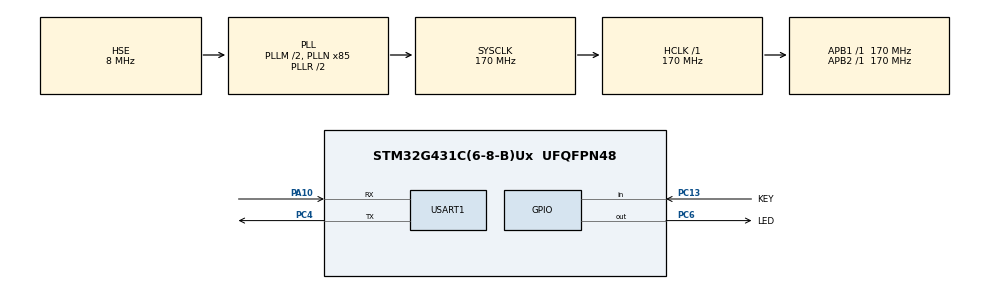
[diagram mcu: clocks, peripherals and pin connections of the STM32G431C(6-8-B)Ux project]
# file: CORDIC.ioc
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Mcu.Family=STM32G4
Mcu.Name=STM32G431C(6-8-B)Ux
Mcu.Package=UFQFPN48
NVIC.PriorityGroup=NVIC_PRIORITYGROUP_4
PA10.Mode=Asynchronous
PA10.Signal=USART1_RX
PA13.Mode=Trace_Asynchronous_SW
PA13.Signal=SYS_JTMS-SWDIO
PA14.Mode=Trace_Asynchronous_SW
PA14.Signal=SYS_JTCK-SWCLK
PB3.Mode=Trace_Asynchronous_SW
PB3.Signal=SYS_JTDO-SWO
PC13.GPIO_Label=KEY
PC13.GPIO_PuPd=GPIO_PULLDOWN
PC13.Signal=GPIO_Input
PC4.Mode=Asynchronous
PC4.Signal=USART1_TX
PC6.GPIO_Label=LED
PC6.GPIO_ModeDefaultOutputPP=GPIO_MODE_OUTPUT_PP
PC6.GPIO_Speed=GPIO_SPEED_FREQ_LOW
PC6.PinState=GPIO_PIN_RESET
PC6.Signal=GPIO_Output
PF0-OSC_IN.Mode=HSE-External-Oscillator
PF0-OSC_IN.Signal=RCC_OSC_IN
PF1-OSC_OUT.Mode=HSE-External-Oscillator
PF1-OSC_OUT.Signal=RCC_OSC_OUT
ProjectManager.HeapSize=0x200
ProjectManager.StackSize=0x400
ProjectManager.TargetToolchain=STM32CubeIDE
RCC.ADC12Freq_Value=170000000
RCC.AHBFreq_Value=170000000
RCC.APB1Freq_Value=170000000
RCC.APB1TimFreq_Value=170000000
RCC.APB2Freq_Value=170000000
RCC.APB2TimFreq_Value=170000000
RCC.CK48CLockSelection=RCC_USBCLKSOURCE_HSI48
RCC.CortexFreq_Value=170000000
RCC.EXTERNAL_CLOCK_VALUE=12288000
RCC.HCLKFreq_Value=170000000
RCC.HSE_VALUE=8000000
RCC.HSI48_VALUE=48000000
RCC.HSI_VALUE=16000000
RCC.LSE_VALUE=32768
RCC.PLLM=RCC_PLLM_DIV2
RCC.PLLN=85
RCC.PLLSourceVirtual=RCC_PLLSOURCE_HSE
RCC.SYSCLKFreq_VALUE=170000000
RCC.SYSCLKSource=RCC_SYSCLKSOURCE_PLLCLK
RCC.USBFreq_Value=48000000
RCC.VCOOutputFreq_Value=340000000
STMicroelectronics.X-CUBE-ALGOBUILD.1.4.0.LibraryCcDSPOoLibraryJjDSPOoLibrary=true
TIM6.Prescaler=170-1
USART1.VirtualMode-Asynchronous=VM_ASYNC
VP_CORDIC_VS_CORDIC.Mode=CORDIC_Activate
VP_STMicroelectronics.X-CUBE-ALGOBUILD_VS_DSPOoLibraryJjLibrary_1.4.0_1.4.0.Mode=DSPOoLibraryJjLibrary
VP_SYS_VS_DBSignals.Mode=DisableDeadBatterySignals
VP_TIM6_VS_ClockSourceINT.Mode=Enable_Timer
board=custom

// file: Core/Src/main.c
/* USER CODE BEGIN Header */
/**
  ******************************************************************************
  * @file           : main.c
  * @brief          : Main program body
  ******************************************************************************
  * @attention
  *
  * Copyright (c) 2025 STMicroelectronics.
  * All rights reserved.
  *
  * This software is licensed under terms that can be found in the LICENSE file
  * in the root directory of this software component.
  * If no LICENSE file comes with this software, it is provided AS-IS.
  *
  ******************************************************************************
  */
/* USER CODE END Header */
#include "main.h"

/* USER CODE BEGIN Includes */

#include "console.h"
#include "math.h"
#include "arm_math.h"

/* USER CODE END Includes */

CORDIC_HandleTypeDef hcordic;

TIM_HandleTypeDef htim6;

UART_HandleTypeDef huart1;

/* USER CODE BEGIN PV */

float sin_result = 0.0f;
float cordic_result[360];

/* USER CODE END PV */

void SystemClock_Config(void);
static void MX_GPIO_Init(void);
static void MX_USART1_UART_Init(void);
static void MX_CORDIC_Init(void);
static void MX_TIM6_Init(void);

/* USER CODE BEGIN 0 */

static inline int f32_to_q31(double input) {
	const float Q3_MAX_F = 0x0.FFFFFFp0F;
	const float Q3_MIN_F = -1.0F;
	return (int)roundf(scalbnf(fmaxf(fminf(input, Q3_MAX_F), Q3_MIN_F), 31));
}

#define q31_to_f32(x) ldexp((int32_t)x, -31)

void cordic_q31_sin_init() {
	CORDIC_ConfigTypeDef sConfig;

	sConfig.Function = CORDIC_FUNCTION_SINE;
	sConfig.Precision = CORDIC_PRECISION_6CYCLES;
	sConfig.Scale = CORDIC_SCALE_0;
	sConfig.NbWrite = CORDIC_NBWRITE_1;
	sConfig.NbRead =  CORDIC_NBREAD_1;
	sConfig.InSize = CORDIC_INSIZE_32BITS;
	sConfig.OutSize = CORDIC_OUTSIZE_32BITS;

	HAL_CORDIC_Configure(&hcordic, &sConfig);
}

float cordic_q31_sin(float x) {
	int32_t input_q31 = f32_to_q31(fmod(x, 3.0f * M_PI) / (2.0f * M_PI)) << 1;
	int32_t output_q31;

	HAL_CORDIC_Calculate(&hcordic, &input_q31, &output_q31, 1, 0);

	return q31_to_f32(output_q31);
}

/* USER CODE END 0 */

int main(void)
{

  /* USER CODE BEGIN 1 */

	double radian = 0.0f;
	uint16_t x;
	uint32_t TimeStop = 0;

  /* USER CODE END 1 */

  /* MCU Configuration--------------------------------------------------------*/

  /* Reset of all peripherals, Initializes the Flash interface and the Systick. */
  HAL_Init();

  /* Configure the system clock */
  SystemClock_Config();

  /* Initialize all configured peripherals */
  MX_GPIO_Init();
  MX_USART1_UART_Init();
  MX_CORDIC_Init();
  MX_TIM6_Init();
  /* USER CODE BEGIN 2 */

  HAL_TIM_Base_Start(&htim6);

  /////////////////////////////
  // SIN math.h
  /////////////////////////////
  printf ("\r\nMATH (sin) Start \r\n");

  htim6.Instance->CNT = 0;
  for (x=0; x < 360; x++) {
	  radian = (double) (x * 2.0f * M_PI) / 360.0;
	  sin_result = sin(radian);
	  //printf ("%f\r\n", sin_result);
  }
  TimeStop = htim6.Instance->CNT;

  printf ("Done. Ticks: %ld\r\n", TimeStop);

  /////////////////////////////
  // SINF math.h
  /////////////////////////////
  printf ("\r\nMATH (sinf) Start \r\n");

  htim6.Instance->CNT = 0;
  for (x=0; x < 360; x++) {
	  radian = (double) (x * 2.0f * M_PI) / 360.0;
	  sin_result = sinf(radian);
	  //printf ("%f\r\n", sin_result);
  }
  TimeStop = htim6.Instance->CNT;

  printf ("Done. Ticks: %ld\r\n", TimeStop);

  /////////////////////////////
  // SIN arm_math.h
  /////////////////////////////
  printf ("\r\nARM_MATH Start \r\n");

  htim6.Instance->CNT = 0;
  for (x=0; x < 360; x++) {
	  radian = (double) (x * 2.0f * M_PI) / 360.0;
	  sin_result = arm_sin_f32(radian);
	  //printf ("%f\r\n", sin_result);
  }
  TimeStop = htim6.Instance->CNT;

  printf ("Done. Ticks: %ld\r\n", TimeStop);

  /////////////////////////////
  // CORDIC SIN
  /////////////////////////////
  printf ("\r\nCORDIC Start \r\n");
  cordic_q31_sin_init();

  htim6.Instance->CNT = 0;
  for (x=0; x < 360; x++) {
	  radian = (double) (x * 2.0f * M_PI) / 360.0;
	  sin_result = cordic_q31_sin(radian);
	  //printf ("%f\r\n", sin_result);
  }
  TimeStop = htim6.Instance->CNT;

  printf ("CORDIC Done. Ticks: %ld\r\n", TimeStop);

  /////////////////////////////
  // CORDIC SIN True way
  /////////////////////////////

  int32_t input_q31[360];
  int32_t output_q31[360];

  printf ("\r\nCORDIC Start (True way) \r\n");

  //htim6.Instance->CNT = 0;
  // Prepare input array
  for (x=0; x < 360; x++) {
	  radian = (double) (x * 2.0f * M_PI) / 360.0;
	  input_q31[x] = f32_to_q31(fmod(radian, 3.0f * M_PI) / (2.0f * M_PI)) << 1;
  }

  htim6.Instance->CNT = 0;
  HAL_CORDIC_Calculate(&hcordic, (int32_t *)&input_q31, (int32_t *)&output_q31, 360, 100);
  TimeStop = htim6.Instance->CNT;

  // Convert result to float
  for (x=0; x < 360; x++) {
	  cordic_result[x] = q31_to_f32(output_q31[x]);
  }
  //TimeStop = htim6.Instance->CNT;

  printf ("CORDIC Done. Ticks: %ld\r\n", TimeStop);

  //for (x=0; x < 360; x++) {
  //	  printf ("%f\r\n", cordic_result[x]);
  //}

  /////////////////////////////
  // Comparison of results
  /////////////////////////////
  printf ("\r\nComparison of results \r\n");
  for (x=0; x < 360; x+=20) {
	  radian = (double) (x * 2.0f * M_PI) / 360.0;
	  printf ("x:%d  sin:%f sinf:%f arm_sin:%f cordic_sin:%f\r\n", x, sin(radian), sinf(radian), arm_sin_f32(radian), cordic_q31_sin(radian));
  }

  /* USER CODE END 2 */

  /* Infinite loop */
  while (1)
  {

  }
}

void SystemClock_Config(void)
{
  RCC_OscInitTypeDef RCC_OscInitStruct = {0};
  RCC_ClkInitTypeDef RCC_ClkInitStruct = {0};

  /** Configure the main internal regulator output voltage
  */
  HAL_PWREx_ControlVoltageScaling(PWR_REGULATOR_VOLTAGE_SCALE1_BOOST);

  /** Initializes the RCC Oscillators according to the specified parameters
  * in the RCC_OscInitTypeDef structure.
  */
  RCC_OscInitStruct.OscillatorType = RCC_OSCILLATORTYPE_HSE;
  RCC_OscInitStruct.HSEState = RCC_HSE_ON;
  RCC_OscInitStruct.PLL.PLLState = RCC_PLL_ON;
  RCC_OscInitStruct.PLL.PLLSource = RCC_PLLSOURCE_HSE;
  RCC_OscInitStruct.PLL.PLLM = RCC_PLLM_DIV2;
  RCC_OscInitStruct.PLL.PLLN = 85;
  RCC_OscInitStruct.PLL.PLLP = RCC_PLLP_DIV2;
  RCC_OscInitStruct.PLL.PLLQ = RCC_PLLQ_DIV2;
  RCC_OscInitStruct.PLL.PLLR = RCC_PLLR_DIV2;
  if (HAL_RCC_OscConfig(&RCC_OscInitStruct) != HAL_OK)
  {
    Error_Handler();
  }

  /** Initializes the CPU, AHB and APB buses clocks
  */
  RCC_ClkInitStruct.ClockType = RCC_CLOCKTYPE_HCLK|RCC_CLOCKTYPE_SYSCLK
                              |RCC_CLOCKTYPE_PCLK1|RCC_CLOCKTYPE_PCLK2;
  RCC_ClkInitStruct.SYSCLKSource = RCC_SYSCLKSOURCE_PLLCLK;
  RCC_ClkInitStruct.AHBCLKDivider = RCC_SYSCLK_DIV1;
  RCC_ClkInitStruct.APB1CLKDivider = RCC_HCLK_DIV1;
  RCC_ClkInitStruct.APB2CLKDivider = RCC_HCLK_DIV1;

  if (HAL_RCC_ClockConfig(&RCC_ClkInitStruct, FLASH_LATENCY_4) != HAL_OK)
  {
    Error_Handler();
  }
}

static void MX_CORDIC_Init(void)
{

  hcordic.Instance = CORDIC;
  if (HAL_CORDIC_Init(&hcordic) != HAL_OK)
  {
    Error_Handler();
  }

}

static void MX_TIM6_Init(void)
{

  TIM_MasterConfigTypeDef sMasterConfig = {0};

  htim6.Instance = TIM6;
  htim6.Init.Prescaler = 170-1;
  htim6.Init.CounterMode = TIM_COUNTERMODE_UP;
  htim6.Init.Period = 65535;
  htim6.Init.AutoReloadPreload = TIM_AUTORELOAD_PRELOAD_DISABLE;
  if (HAL_TIM_Base_Init(&htim6) != HAL_OK)
  {
    Error_Handler();
  }
  sMasterConfig.MasterOutputTrigger = TIM_TRGO_RESET;
  sMasterConfig.MasterSlaveMode = TIM_MASTERSLAVEMODE_DISABLE;
  if (HAL_TIMEx_MasterConfigSynchronization(&htim6, &sMasterConfig) != HAL_OK)
  {
    Error_Handler();
  }

}

static void MX_USART1_UART_Init(void)
{

  huart1.Instance = USART1;
  huart1.Init.BaudRate = 115200;
  huart1.Init.WordLength = UART_WORDLENGTH_8B;
  huart1.Init.StopBits = UART_STOPBITS_1;
  huart1.Init.Parity = UART_PARITY_NONE;
  huart1.Init.Mode = UART_MODE_TX_RX;
  huart1.Init.HwFlowCtl = UART_HWCONTROL_NONE;
  huart1.Init.OverSampling = UART_OVERSAMPLING_16;
  huart1.Init.OneBitSampling = UART_ONE_BIT_SAMPLE_DISABLE;
  huart1.Init.ClockPrescaler = UART_PRESCALER_DIV1;
  huart1.AdvancedInit.AdvFeatureInit = UART_ADVFEATURE_NO_INIT;
  if (HAL_UART_Init(&huart1) != HAL_OK)
  {
    Error_Handler();
  }
  if (HAL_UARTEx_SetTxFifoThreshold(&huart1, UART_TXFIFO_THRESHOLD_1_8) != HAL_OK)
  {
    Error_Handler();
  }
  if (HAL_UARTEx_SetRxFifoThreshold(&huart1, UART_RXFIFO_THRESHOLD_1_8) != HAL_OK)
  {
    Error_Handler();
  }
  if (HAL_UARTEx_DisableFifoMode(&huart1) != HAL_OK)
  {
    Error_Handler();
  }

}

static void MX_GPIO_Init(void)
{
  GPIO_InitTypeDef GPIO_InitStruct = {0};

  /* GPIO Ports Clock Enable */
  __HAL_RCC_GPIOC_CLK_ENABLE();
  __HAL_RCC_GPIOF_CLK_ENABLE();
  __HAL_RCC_GPIOA_CLK_ENABLE();
  __HAL_RCC_GPIOB_CLK_ENABLE();

  /*Configure GPIO pin Output Level */
  HAL_GPIO_WritePin(LED_GPIO_Port, LED_Pin, GPIO_PIN_RESET);

  /*Configure GPIO pin : KEY_Pin */
  GPIO_InitStruct.Pin = KEY_Pin;
  GPIO_InitStruct.Mode = GPIO_MODE_INPUT;
  GPIO_InitStruct.Pull = GPIO_PULLDOWN;
  HAL_GPIO_Init(KEY_GPIO_Port, &GPIO_InitStruct);

  /*Configure GPIO pin : LED_Pin */
  GPIO_InitStruct.Pin = LED_Pin;
  GPIO_InitStruct.Mode = GPIO_MODE_OUTPUT_PP;
  GPIO_InitStruct.Pull = GPIO_NOPULL;
  GPIO_InitStruct.Speed = GPIO_SPEED_FREQ_LOW;
  HAL_GPIO_Init(LED_GPIO_Port, &GPIO_InitStruct);

}

void Error_Handler(void)
{
  __disable_irq();
  while (1)
  {
  }
}
